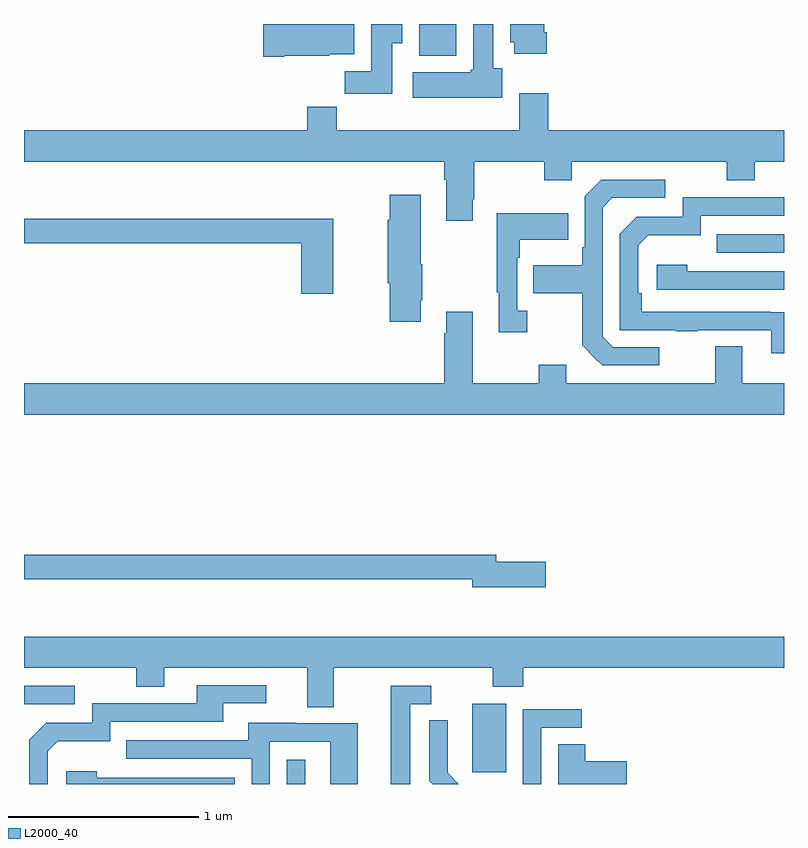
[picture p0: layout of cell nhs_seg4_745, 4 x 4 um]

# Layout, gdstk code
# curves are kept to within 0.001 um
import gdstk
lib = gdstk.Library(unit=1e-6, precision=1e-09)
def R(c, l, rs):  # rectangles x0, y0, x1, y1
    for r in rs: c.add(gdstk.rectangle(r[:2], r[2:], *l))
def P(c, l, *ps):  # polygons
    for p in ps: c.add(gdstk.Polygon(p, *l))
L2000_40 = (2000, 40)

nhs_seg4_745 = lib.new_cell('nhs_seg4_745')
R(nhs_seg4_745, L2000_40, [(150.384,770.9,150.481,771.028), (151.358,770.961,151.537,771.322), (149,771.321,149.266,771.417), (152.647,773.697,153,773.793), (151.079,774.734,151.276,774.9)])
P(nhs_seg4_745, L2000_40, [(150.37,774.734),(150.606,774.734),(150.606,774.74),(150.739,774.74),(150.739,774.9),(150.258,774.9),(150.258,774.727),(150.37,774.727)],
  [(150.937,774.8),(150.991,774.8),(150.991,774.9),(150.827,774.9),(150.827,774.652),(150.688,774.652),(150.688,774.534),(150.937,774.534)],
  [(151.751,774.856),(151.738,774.856),(151.738,774.9),(151.559,774.9),(151.559,774.804),(151.58,774.804),(151.58,774.744),(151.751,774.744)],
  [(151.516,774.666),(151.471,774.666),(151.471,774.9),(151.364,774.9),(151.364,774.66),(151.351,774.66),(151.351,774.646),(151.047,774.646),(151.047,774.512),(151.516,774.512)],
  [(151.363,773.977),(151.371,773.977),(151.371,774.176),(151.738,774.176),(151.738,774.077),(151.884,774.077),(151.884,774.176),(152.698,774.176),(152.698,774.077),(152.845,774.077),(152.845,774.176),(153,774.176),(153,774.34),(151.76,774.34),(151.76,774.535),(151.607,774.535),(151.607,774.34),(150.647,774.34),(150.647,774.464),(150.491,774.464),(150.491,774.34),(149,774.34),(149,774.176),(151.211,774.176),(151.211,774.08),(151.223,774.08),(151.223,773.865),(151.363,773.865)],
  [(152.344,773.199),(152.1,773.199),(152.046,773.253),(152.046,773.934),(152.097,773.985),(152.374,773.985),(152.374,774.081),(152.037,774.081),(151.95,773.994),(151.95,773.725),(151.938,773.725),(151.938,773.629),(151.681,773.629),(151.681,773.482),(151.938,773.482),(151.938,773.209),(152.043,773.103),(152.344,773.103)],
  [(151.087,773.446),(151.095,773.446),(151.095,773.635),(151.087,773.635),(151.087,774.001),(150.925,774.001),(150.925,773.871),(150.914,773.871),(150.914,773.535),(150.925,773.535),(150.925,773.334),(151.087,773.334)],
  [(153,773.384),(152.252,773.385),(152.252,773.482),(152.232,773.482),(152.232,773.736),(152.285,773.789),(152.562,773.789),(152.562,773.892),(153,773.892),(153,773.988),(152.466,773.988),(152.466,773.886),(152.226,773.886),(152.136,773.796),(152.136,773.289),(152.431,773.289),(152.431,773.284),(152.543,773.284),(152.543,773.289),(152.933,773.289),(152.933,773.166),(153,773.166)],
  [(151.648,773.39),(151.596,773.39),(151.596,773.669),(151.609,773.669),(151.609,773.765),(151.865,773.765),(151.865,773.905),(151.488,773.905),(151.488,773.489),(151.499,773.489),(151.499,773.277),(151.648,773.277)],
  [(150.628,773.875),(149,773.875),(149,773.746),(150.458,773.746),(150.458,773.481),(150.628,773.481)],
  [(153,773.598),(152.492,773.598),(152.492,773.632),(152.331,773.632),(152.331,773.502),(153,773.502)],
  [(153,773.008),(152.779,773.008),(152.779,773.203),(152.639,773.203),(152.639,773.008),(151.855,773.008),(151.855,773.107),(151.708,773.107),(151.708,773.008),(151.363,773.008),(151.363,773.386),(151.223,773.386),(151.223,773.273),(151.211,773.273),(151.211,773.008),(149,773.008),(149,772.844),(153,772.844)],
  [(151.747,772.07),(151.486,772.07),(151.486,772.106),(149,772.106),(149,771.978),(151.358,771.978),(151.358,771.935),(151.747,771.935)],
  [(150.631,771.512),(151.468,771.512),(151.468,771.413),(151.628,771.413),(151.628,771.512),(153,771.512),(153,771.676),(149,771.676),(149,771.512),(149.59,771.512),(149.59,771.413),(149.737,771.413),(149.737,771.512),(150.491,771.512),(150.491,771.304),(150.631,771.304)],
  [(149.124,771.072),(149.177,771.125),(149.454,771.125),(149.454,771.228),(150.049,771.228),(150.049,771.324),(150.274,771.324),(150.274,771.42),(149.909,771.42),(149.909,771.324),(149.358,771.324),(149.358,771.222),(149.118,771.222),(149.028,771.132),(149.028,770.9),(149.124,770.9)],
  [(151.033,771.321),(151.144,771.321),(151.144,771.417),(150.929,771.417),(150.929,770.9),(151.033,770.9)],
  [(151.722,771.195),(151.936,771.195),(151.936,771.294),(151.626,771.294),(151.626,770.9),(151.722,770.9)],
  [(151.229,770.96),(151.229,771.082),(151.23,771.082),(151.23,771.236),(151.134,771.236),(151.134,770.918),(151.152,770.9),(151.288,770.9)],
  [(150.294,771.123),(150.612,771.123),(150.612,770.9),(150.757,770.9),(150.757,771.219),(150.433,771.219),(150.433,771.223),(150.179,771.223),(150.179,771.129),(149.539,771.129),(149.539,771.033),(150.198,771.033),(150.198,770.9),(150.294,770.9)],
  [(152.173,771.02),(151.955,771.02),(151.955,771.11),(151.811,771.11),(151.811,770.9),(152.173,770.9)],
  [(150.108,770.934),(149.384,770.934),(149.384,770.968),(149.223,770.968),(149.223,770.9),(150.108,770.9)])

lib.write_gds('nhs_seg4_745.gds')
